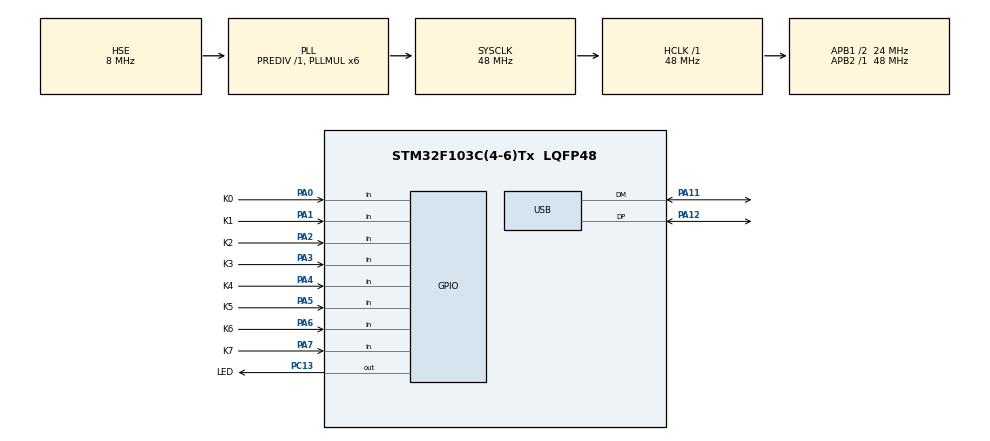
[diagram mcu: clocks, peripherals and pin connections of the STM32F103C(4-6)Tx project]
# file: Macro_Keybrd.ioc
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Mcu.Family=STM32F1
Mcu.Name=STM32F103C(4-6)Tx
Mcu.Package=LQFP48
NVIC.PriorityGroup=NVIC_PRIORITYGROUP_4
NVIC.USB_LP_CAN1_RX0_IRQn=true\:0\:0\:false\:false\:true\:false\:true\:true
PA0-WKUP.GPIO_Label=K0
PA0-WKUP.GPIO_PuPd=GPIO_PULLUP
PA0-WKUP.Signal=GPIO_Input
PA1.GPIO_Label=K1
PA1.GPIO_PuPd=GPIO_PULLUP
PA1.Signal=GPIO_Input
PA11.Mode=Device
PA11.Signal=USB_DM
PA12.Mode=Device
PA12.Signal=USB_DP
PA13.Mode=Serial_Wire
PA13.Signal=SYS_JTMS-SWDIO
PA14.Mode=Serial_Wire
PA14.Signal=SYS_JTCK-SWCLK
PA2.GPIO_Label=K2
PA2.GPIO_PuPd=GPIO_PULLUP
PA2.Signal=GPIO_Input
PA3.GPIO_Label=K3
PA3.GPIO_PuPd=GPIO_PULLUP
PA3.Signal=GPIO_Input
PA4.GPIO_Label=K4
PA4.GPIO_PuPd=GPIO_PULLUP
PA4.Signal=GPIO_Input
PA5.GPIO_Label=K5
PA5.GPIO_PuPd=GPIO_PULLUP
PA5.Signal=GPIO_Input
PA6.GPIO_Label=K6
PA6.GPIO_PuPd=GPIO_PULLUP
PA6.Signal=GPIO_Input
PA7.GPIO_Label=K7
PA7.GPIO_PuPd=GPIO_PULLUP
PA7.Signal=GPIO_Input
PC13-TAMPER-RTC.GPIO_Label=LED
PC13-TAMPER-RTC.GPIO_PuPd=GPIO_PULLUP
PC13-TAMPER-RTC.PinState=GPIO_PIN_SET
PC13-TAMPER-RTC.Signal=GPIO_Output
PD0-OSC_IN.Mode=HSE-External-Oscillator
PD0-OSC_IN.Signal=RCC_OSC_IN
PD1-OSC_OUT.Mode=HSE-External-Oscillator
PD1-OSC_OUT.Signal=RCC_OSC_OUT
ProjectManager.HeapSize=0x200
ProjectManager.StackSize=0x400
ProjectManager.TargetToolchain=Makefile
RCC.AHBFreq_Value=48000000
RCC.APB1CLKDivider=RCC_HCLK_DIV2
RCC.APB1Freq_Value=24000000
RCC.APB1TimFreq_Value=48000000
RCC.APB2Freq_Value=48000000
RCC.APB2TimFreq_Value=48000000
RCC.HCLKFreq_Value=48000000
RCC.PLLMUL=RCC_PLL_MUL6
RCC.SYSCLKFreq_VALUE=48000000
RCC.SYSCLKSource=RCC_SYSCLKSOURCE_PLLCLK
RCC.USBFreq_Value=48000000
USB_DEVICE.CLASS_NAME_FS=HID
USB_DEVICE.VirtualMode=Hid
USB_DEVICE.VirtualModeFS=Hid_FS
VP_USB_DEVICE_VS_USB_DEVICE_HID_FS.Mode=HID_FS
board=custom

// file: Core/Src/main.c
/* USER CODE BEGIN Header */
/**
 ******************************************************************************
 * @file           : main.c
 * @brief          : Main program body
 ******************************************************************************
 * @attention
 *
 * Copyright (c) 2023 STMicroelectronics.
 * All rights reserved.
 *
 * This software is licensed under terms that can be found in the LICENSE file
 * in the root directory of this software component.
 * If no LICENSE file comes with this software, it is provided AS-IS.
 *
 ******************************************************************************
 */
/* USER CODE END Header */
#include "main.h"
#include "usb_device.h"
#include "gpio.h"

/* USER CODE BEGIN Includes */
#include "usbd_hid.h"
/* USER CODE END Includes */

/* USER CODE BEGIN PTD */
extern USBD_HandleTypeDef hUsbDeviceFS;
/* USER CODE END PTD */

/* USER CODE BEGIN PD */
void Send_Keybrd_Report(uint8_t *report);
/* USER CODE END PD */

/* USER CODE BEGIN PV */
uint8_t KEYRPTSELALL[8] = {0x01, 0, 0x04, 0, 0, 0, 0, 0};  // Select all: Ctrl + A
uint8_t KEYRPTCOPY[8] = {0x01, 0, 0x06, 0, 0, 0, 0, 0};    // Copy: Ctrl + C
uint8_t KEYRPTCUT[8] = {0x01, 0, 0x1b, 0, 0, 0, 0, 0};     // Cut: Ctrl + X
uint8_t KEYRPTPASTE[8] = {0x01, 0, 0x19, 0, 0, 0, 0, 0};   // Paste: Ctrl + V
uint8_t KEYRPTSWWIN[8] = {0x04, 0, 0x2b, 0, 0, 0, 0, 0};   // Switch windows: Alt + Tab
uint8_t KEYRPTSWTAB[8] = {0x01, 0, 0x2b, 0, 0, 0, 0, 0};   // Switch Tab:  Ctrl + Tab
uint8_t KEYRPTNEWDIR[8] = {0x03, 0, 0x11, 0, 0, 0, 0, 0};  // New Folder: Ctrl + Shift + N
uint8_t KEYRPTBACK[8] = {0x04, 0, 0x52, 0, 0, 0, 0, 0};    // Back to Previous Page: Alt + UP
uint8_t KEYRPTLOCK[8] = {0x08, 0, 0x0f, 0, 0, 0, 0, 0};    // Lock Screen: Win + L
uint8_t KEYRPTSEARCH[8] = {0x01, 0, 0x09, 0, 0, 0, 0, 0};  // Search: Ctrl + F
uint8_t KEYRPTREPLACE[8] = {0x01, 0, 0x0b, 0, 0, 0, 0, 0}; // Search and Replace: Ctrl + H
uint8_t KEYRPTEND[8] = {0, 0, 0, 0, 0, 0, 0, 0};
/* USER CODE END PV */

void SystemClock_Config(void);

int main(void)
{

  /* MCU Configuration--------------------------------------------------------*/

  /* Reset of all peripherals, Initializes the Flash interface and the Systick. */
  HAL_Init();

  /* Configure the system clock */
  SystemClock_Config();

  /* Initialize all configured peripherals */
  MX_GPIO_Init();
  MX_USB_DEVICE_Init();

  /* Infinite loop */
  /* USER CODE BEGIN WHILE */
  while (1)
  {
    uint8_t key_value = Key_Scan();
    switch (key_value)
    {
    case 0:
      HAL_Delay(50);
      break;
    case 0x01:
      Send_Keybrd_Report(KEYRPTSWWIN);
      break;
    case 0x02:
      Send_Keybrd_Report(KEYRPTBACK);
      break;
    case 0x03:
      Send_Keybrd_Report(KEYRPTNEWDIR);
      break;
    case 0x04:
      Send_Keybrd_Report(KEYRPTLOCK);
      break;
    case 0x05:
      Send_Keybrd_Report(KEYRPTSELALL);
      break;
    case 0x06:
      Send_Keybrd_Report(KEYRPTCOPY);
      break;
    case 0x07:
      Send_Keybrd_Report(KEYRPTPASTE);
      break;
    case 0x08:
      Send_Keybrd_Report(KEYRPTREPLACE);
      break;
    }
    /* USER CODE END WHILE */

  }
}

void SystemClock_Config(void)
{
  RCC_OscInitTypeDef RCC_OscInitStruct = {0};
  RCC_ClkInitTypeDef RCC_ClkInitStruct = {0};
  RCC_PeriphCLKInitTypeDef PeriphClkInit = {0};

  /** Initializes the RCC Oscillators according to the specified parameters
   * in the RCC_OscInitTypeDef structure.
   */
  RCC_OscInitStruct.OscillatorType = RCC_OSCILLATORTYPE_HSE;
  RCC_OscInitStruct.HSEState = RCC_HSE_ON;
  RCC_OscInitStruct.HSEPredivValue = RCC_HSE_PREDIV_DIV1;
  RCC_OscInitStruct.HSIState = RCC_HSI_ON;
  RCC_OscInitStruct.PLL.PLLState = RCC_PLL_ON;
  RCC_OscInitStruct.PLL.PLLSource = RCC_PLLSOURCE_HSE;
  RCC_OscInitStruct.PLL.PLLMUL = RCC_PLL_MUL6;
  if (HAL_RCC_OscConfig(&RCC_OscInitStruct) != HAL_OK)
  {
    Error_Handler();
  }

  /** Initializes the CPU, AHB and APB buses clocks
   */
  RCC_ClkInitStruct.ClockType = RCC_CLOCKTYPE_HCLK | RCC_CLOCKTYPE_SYSCLK | RCC_CLOCKTYPE_PCLK1 | RCC_CLOCKTYPE_PCLK2;
  RCC_ClkInitStruct.SYSCLKSource = RCC_SYSCLKSOURCE_PLLCLK;
  RCC_ClkInitStruct.AHBCLKDivider = RCC_SYSCLK_DIV1;
  RCC_ClkInitStruct.APB1CLKDivider = RCC_HCLK_DIV2;
  RCC_ClkInitStruct.APB2CLKDivider = RCC_HCLK_DIV1;

  if (HAL_RCC_ClockConfig(&RCC_ClkInitStruct, FLASH_LATENCY_1) != HAL_OK)
  {
    Error_Handler();
  }
  PeriphClkInit.PeriphClockSelection = RCC_PERIPHCLK_USB;
  PeriphClkInit.UsbClockSelection = RCC_USBCLKSOURCE_PLL;
  if (HAL_RCCEx_PeriphCLKConfig(&PeriphClkInit) != HAL_OK)
  {
    Error_Handler();
  }
}

/* USER CODE BEGIN 4 */
void Send_Keybrd_Report(uint8_t *report)
{
  USBD_HID_SendReport(&hUsbDeviceFS, report, 8);
  HAL_Delay(100);
  USBD_HID_SendReport(&hUsbDeviceFS, KEYRPTEND, 8);
  HAL_Delay(100);
}
/* USER CODE END 4 */

void Error_Handler(void)
{
  /* USER CODE BEGIN Error_Handler_Debug */
  /* User can add his own implementation to report the HAL error return state */
  __disable_irq();
  while (1)
  {
    HAL_GPIO_TogglePin(LED_GPIO_Port, LED_Pin);
    HAL_Delay(500);
  }
  /* USER CODE END Error_Handler_Debug */
}
